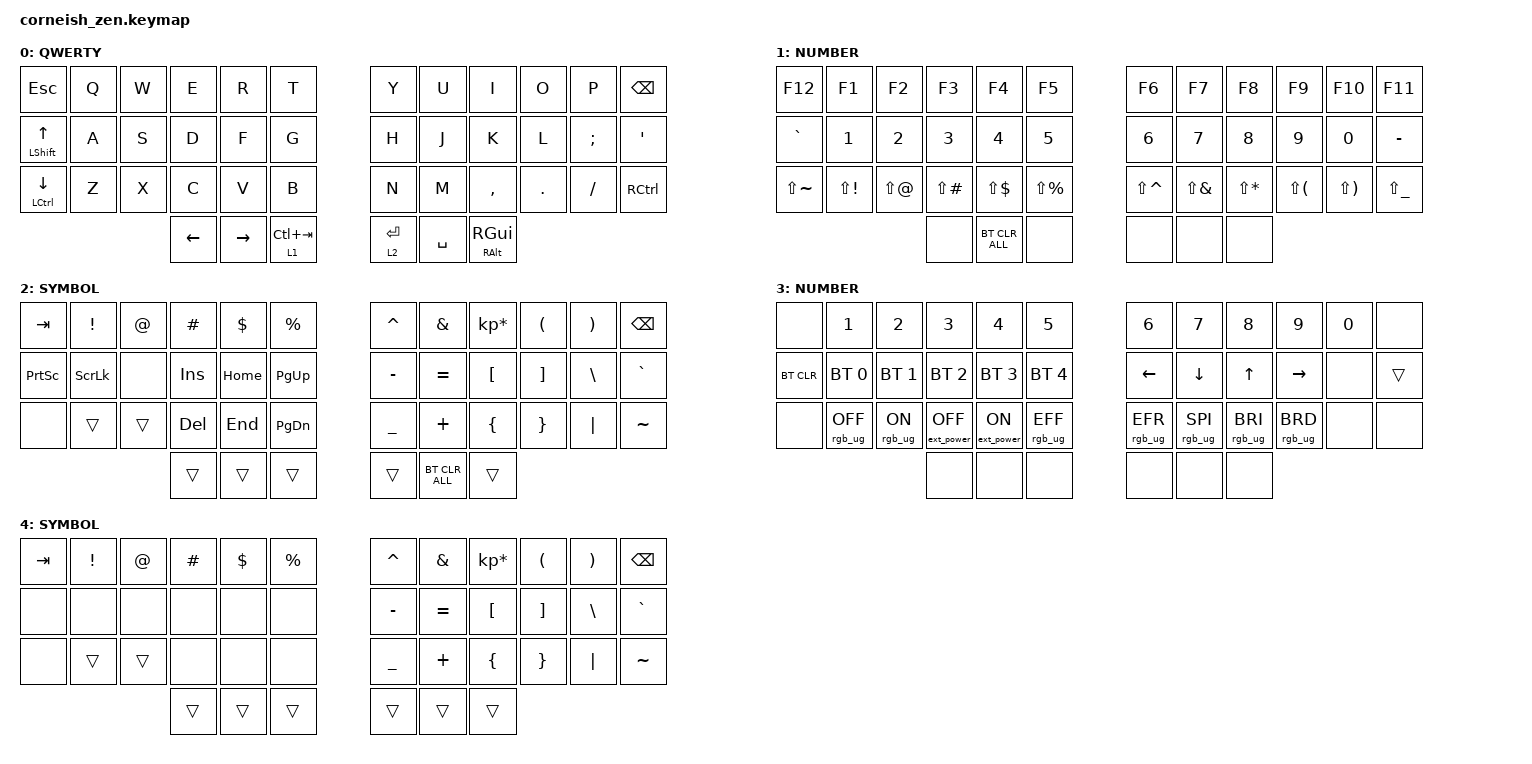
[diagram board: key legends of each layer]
/*
*
* Copyright (c) 2021 Darryl deHaan
* SPDX-License-Identifier: MIT
*
*/

#include <behaviors.dtsi>
#include <dt-bindings/zmk/bt.h>
#include <dt-bindings/zmk/ext_power.h>
#include <dt-bindings/zmk/keys.h>
#include <dt-bindings/zmk/rgb.h>

/ {
    chosen {
        zmk,matrix_transform = &default_transform;

        // zmk,matrix_transform = &five_column_transform;
    };
};

/ {
    keymap {
        compatible = "zmk,keymap";

        default_layer {
            display-name = "QWERTY";

            // --------------------------------------------------------------------------------
            // |  TAB |  Q  |  W  |  E  |  R  |  T  |   |  Y  |  U   |  I  |  O  |  P  | BKSP |
            // | CTRL |  A  |  S  |  D  |  F  |  G  |   |  H  |  J   |  K  |  L  |  ;  |  '   |
            // | SHFT |  Z  |  X  |  C  |  V  |  B  |   |  N  |  M   |  ,  |  .  |  /  | ESC  |
            //                    | GUI | LWR | SPC |   | ENT | RSE  | ALT |

            bindings = <
&kp ESC                  &kp Q  &kp W  &kp E     &kp R      &kp T            &kp Y        &kp U      &kp I                    &kp O    &kp P     &kp BSPC
&mt LEFT_SHIFT UP_ARROW  &kp A  &kp S  &kp D     &kp F      &kp G            &kp H        &kp J      &kp K                    &kp L    &kp SEMI  &kp SQT
&mt LCTRL DOWN           &kp Z  &kp X  &kp C     &kp V      &kp B            &kp N        &kp M      &kp COMMA                &kp DOT  &kp FSLH  &kp RCTRL
                                       &kp LEFT  &kp RIGHT  &lt 1 LC(TAB)    &lt 2 ENTER  &kp SPACE  &mt RIGHT_ALT RIGHT_GUI
            >;
        };

        lower_layer {
            display-name = "NUMBER";

            // -----------------------------------------------------------------------------------------
            // |  TAB |  1  |  2  |  3  |  4  |  5  |   |  6  |  7  |  8  |  9  |  0  | BKSP |
            // | BTCLR| BT1 | BT2 | BT3 | BT4 | BT5 |   | LFT | DWN |  UP | RGT |     |      |
            // | SHFT |     |     |     |     |     |   |     |     |     |     |     |      |
            //                    | GUI |     | SPC |   | ENT |     | ALT |

            bindings = <
&kp F12        &kp F1        &kp F2      &kp F3         &kp F4          &kp F5           &kp F6         &kp F7        &kp F8        &kp F9        &kp F10       &kp F11
&kp GRAVE      &kp N1        &kp N2      &kp N3         &kp N4          &kp N5           &kp N6         &kp N7        &kp N8        &kp N9        &kp N0        &kp MINUS
&kp LS(TILDE)  &kp LS(EXCL)  &kp LS(AT)  &kp LS(POUND)  &kp LS(DLLR)    &kp LS(PRCNT)    &kp LS(CARET)  &kp LS(AMPS)  &kp LS(STAR)  &kp LS(LPAR)  &kp LS(RPAR)  &kp LS(UNDER)
                                         &none          &bt BT_CLR_ALL  &none            &none          &none         &none
            >;
        };

        raise_layer {
            display-name = "SYMBOL";

            // -----------------------------------------------------------------------------------------
            // |  TAB |  !  |  @  |  #  |  $  |  %  |   |  ^  |  &  |  *  |  (  |  )  | BKSP |
            // | CTRL |     |     |     |     |     |   |  -  |  =  |  [  |  ]  |  \  |  `   |
            // | SHFT |     |     |     |     |     |   |  _  |  +  |  {  |  }  | "|" |  ~   |
            //                    | GUI |     | SPC |   | ENT |     | ALT |

            bindings = <
&kp TAB          &kp EXCL        &kp AT  &kp HASH  &kp DLLR  &kp PRCNT    &kp CARET  &kp AMPS        &kp KP_ASTERISK  &kp LPAR  &kp RPAR  &kp BSPC
&kp PRINTSCREEN  &kp SCROLLLOCK  &none   &kp INS   &kp HOME  &kp PG_UP    &kp MINUS  &kp EQUAL       &kp LBKT         &kp RBKT  &kp BSLH  &kp GRAVE
&none            &trans          &trans  &kp DEL   &kp END   &kp PG_DN    &kp UNDER  &kp PLUS        &kp LBRC         &kp RBRC  &kp PIPE  &kp TILDE
                                         &trans    &trans    &trans       &trans     &bt BT_CLR_ALL  &trans
            >;
        };

        layer_3 {
            display-name = "NUMBER";
            bindings = <
&none       &kp N1           &kp N2          &kp N3             &kp N4            &kp N5             &kp N6           &kp N7           &kp N8           &kp N9           &kp N0  &none
&bt BT_CLR  &bt BT_SEL 0     &bt BT_SEL 1    &bt BT_SEL 2       &bt BT_SEL 3      &bt BT_SEL 4       &kp LEFT         &kp DOWN         &kp UP           &kp RIGHT        &none   &trans
&none       &rgb_ug RGB_OFF  &rgb_ug RGB_ON  &ext_power EP_OFF  &ext_power EP_ON  &rgb_ug RGB_EFF    &rgb_ug RGB_EFR  &rgb_ug RGB_SPI  &rgb_ug RGB_BRI  &rgb_ug RGB_BRD  &none   &none
                                             &none              &none             &none              &none            &none            &none
            >;
        };

        layer_4 {
            display-name = "SYMBOL";
            bindings = <
&kp TAB  &kp EXCL  &kp AT  &kp HASH  &kp DLLR  &kp PRCNT    &kp CARET  &kp AMPS   &kp KP_MULTIPLY  &kp LPAR  &kp RPAR  &kp BSPC
&none    &none     &none   &none     &none     &none        &kp MINUS  &kp EQUAL  &kp LBKT         &kp RBKT  &kp BSLH  &kp GRAVE
&none    &trans    &trans  &none     &none     &none        &kp UNDER  &kp PLUS   &kp LBRC         &kp RBRC  &kp PIPE  &kp TILDE
                           &trans    &trans    &trans       &trans     &trans     &trans
            >;
        };
    };
};
